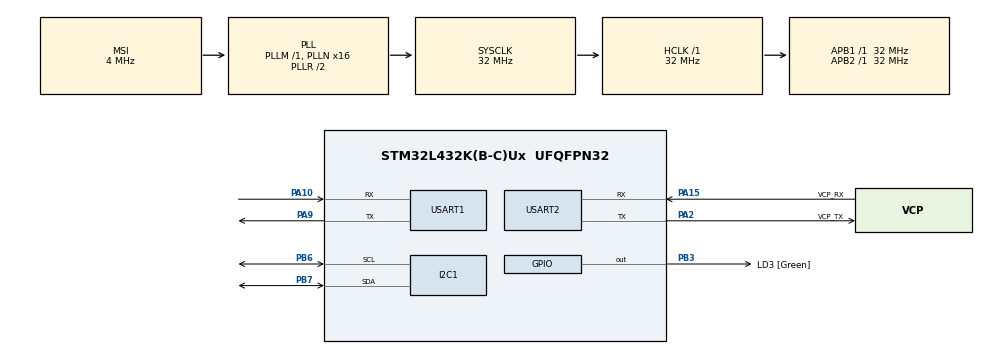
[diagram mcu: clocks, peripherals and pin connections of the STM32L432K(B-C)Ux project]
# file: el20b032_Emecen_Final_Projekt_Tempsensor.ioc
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FREERTOS.Queues01=tempfreeQueue,16,int,0,Dynamic,NULL,NULL
FREERTOS.Tasks01=TempTask,24,128,StartTempTask,Default,NULL,Dynamic,NULL,NULL;Transmit,8,128,TransmitTask,Default,NULL,Dynamic,NULL,NULL
FREERTOS.configUSE_NEWLIB_REENTRANT=1
I2C1.Timing=0x00707CBB
Mcu.Family=STM32L4
Mcu.Name=STM32L432K(B-C)Ux
Mcu.Package=UFQFPN32
NVIC.PriorityGroup=NVIC_PRIORITYGROUP_4
NVIC.TIM6_DAC_IRQn=true\:15\:0\:false\:false\:true\:false\:false\:true\:true
NVIC.TimeBase=TIM6_DAC_IRQn
NVIC.TimeBaseIP=TIM6
PA0.GPIO_Label=MCO [High speed clock in]
PA0.Mode=HSE-External-Clock-Source-for-LittleOrca
PA0.Signal=RCC_CK_IN
PA10.Mode=Asynchronous
PA10.Signal=USART1_RX
PA13\ (JTMS-SWDIO).GPIO_Label=SWDIO
PA13\ (JTMS-SWDIO).Mode=Serial_Wire
PA13\ (JTMS-SWDIO).Signal=SYS_JTMS-SWDIO
PA14\ (JTCK-SWCLK).GPIO_Label=SWCLK
PA14\ (JTCK-SWCLK).Mode=Serial_Wire
PA14\ (JTCK-SWCLK).Signal=SYS_JTCK-SWCLK
PA15\ (JTDI).GPIO_Label=VCP_RX
PA15\ (JTDI).Mode=Asynchronous
PA15\ (JTDI).Signal=USART2_RX
PA2.GPIO_Label=VCP_TX
PA2.Mode=Asynchronous
PA2.Signal=USART2_TX
PA9.Mode=Asynchronous
PA9.Signal=USART1_TX
PB3\ (JTDO-TRACESWO).GPIO_Label=LD3 [Green]
PB3\ (JTDO-TRACESWO).Signal=GPIO_Output
PB6.Mode=I2C
PB6.Signal=I2C1_SCL
PB7.Mode=I2C
PB7.Signal=I2C1_SDA
PC14-OSC32_IN\ (PC14).Mode=LSE-External-Oscillator
PC14-OSC32_IN\ (PC14).Signal=RCC_OSC32_IN
PC15-OSC32_OUT\ (PC15).Mode=LSE-External-Oscillator
PC15-OSC32_OUT\ (PC15).Signal=RCC_OSC32_OUT
ProjectManager.HeapSize=0x200
ProjectManager.StackSize=0x400
ProjectManager.TargetToolchain=STM32CubeIDE
RCC.AHBFreq_Value=32000000
RCC.APB1Freq_Value=32000000
RCC.APB1TimFreq_Value=32000000
RCC.APB2Freq_Value=32000000
RCC.APB2TimFreq_Value=32000000
RCC.CortexFreq_Value=32000000
RCC.HCLKFreq_Value=32000000
RCC.HSE_VALUE=8000000
RCC.HSI16_VALUE=16000000
RCC.HSI48_VALUE=48000000
RCC.HSI_VALUE=16000000
RCC.MSI_VALUE=4000000
RCC.PLLMUL=RCC_PLLMUL_4
RCC.PLLN=16
RCC.SYSCLKFreq_VALUE=32000000
RCC.SYSCLKSource=RCC_SYSCLKSOURCE_PLLCLK
RCC.VCOOutputFreq_Value=64000000
USART1.VirtualMode-Asynchronous=VM_ASYNC
USART2.VirtualMode-Asynchronous=VM_ASYNC
VP_FREERTOS_VS_CMSIS_V2.Mode=CMSIS_V2
VP_SYS_VS_tim6.Mode=TIM6
board=NUCLEO-L432KC

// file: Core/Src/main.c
/* USER CODE BEGIN Header */
/**
  ******************************************************************************
  * @file           : main.c
  * @brief          : Main program body
  ******************************************************************************
  * @attention
  *
  * Copyright (c) 2024 STMicroelectronics.
  * All rights reserved.
  *
  * This software is licensed under terms that can be found in the LICENSE file
  * in the root directory of this software component.
  * If no LICENSE file comes with this software, it is provided AS-IS.
  *
  ******************************************************************************
  */
/* USER CODE END Header */
#include "main.h"
#include "cmsis_os.h"

/* USER CODE BEGIN Includes */
#define TSYS03_I2C_ADDRESS 0x40
#include "stdio.h"
#include "conversions.h"
#include "uart_send_app.h"
/* USER CODE END Includes */

I2C_HandleTypeDef hi2c1;

UART_HandleTypeDef huart1;
UART_HandleTypeDef huart2;

/* Definitions for TempTask */
osThreadId_t TempTaskHandle;
const osThreadAttr_t TempTask_attributes = {
  .name = "TempTask",
  .stack_size = 128 * 4,
  .priority = (osPriority_t) osPriorityNormal,
};
/* Definitions for Transmit */
osThreadId_t TransmitHandle;
const osThreadAttr_t Transmit_attributes = {
  .name = "Transmit",
  .stack_size = 128 * 4,
  .priority = (osPriority_t) osPriorityLow,
};
/* Definitions for tempfreeQueue */
osMessageQueueId_t tempfreeQueueHandle;
const osMessageQueueAttr_t tempfreeQueue_attributes = {
  .name = "tempfreeQueue"
};

void SystemClock_Config(void);
static void MX_GPIO_Init(void);
static void MX_USART2_UART_Init(void);
static void MX_I2C1_Init(void);
static void MX_USART1_UART_Init(void);
void StartTempTask(void *argument);
void TransmitTask(void *argument);

int main(void)
{

  /* MCU Configuration--------------------------------------------------------*/

  /* Reset of all peripherals, Initializes the Flash interface and the Systick. */
  HAL_Init();

  /* Configure the system clock */
  SystemClock_Config();

  /* Initialize all configured peripherals */
  MX_GPIO_Init();
  MX_USART2_UART_Init();
  MX_I2C1_Init();
  MX_USART1_UART_Init();

  /* Init scheduler */
  osKernelInitialize();

  /* Create the queue(s) */
  /* creation of tempfreeQueue */
  tempfreeQueueHandle = osMessageQueueNew (16, sizeof(int), &tempfreeQueue_attributes);

  /* Create the thread(s) */
  /* creation of TempTask */
  TempTaskHandle = osThreadNew(StartTempTask, NULL, &TempTask_attributes);

  /* creation of Transmit */
  TransmitHandle = osThreadNew(TransmitTask, NULL, &Transmit_attributes);

  /* Start scheduler */
  osKernelStart();

  /* We should never get here as control is now taken by the scheduler */
  /* Infinite loop */
  while (1)
  {

  }
}

void SystemClock_Config(void)
{
  RCC_OscInitTypeDef RCC_OscInitStruct = {0};
  RCC_ClkInitTypeDef RCC_ClkInitStruct = {0};

  /** Configure the main internal regulator output voltage
  */
  if (HAL_PWREx_ControlVoltageScaling(PWR_REGULATOR_VOLTAGE_SCALE1) != HAL_OK)
  {
    Error_Handler();
  }

  /** Configure LSE Drive Capability
  */
  HAL_PWR_EnableBkUpAccess();
  __HAL_RCC_LSEDRIVE_CONFIG(RCC_LSEDRIVE_LOW);

  /** Initializes the RCC Oscillators according to the specified parameters
  * in the RCC_OscInitTypeDef structure.
  */
  RCC_OscInitStruct.OscillatorType = RCC_OSCILLATORTYPE_LSE|RCC_OSCILLATORTYPE_MSI;
  RCC_OscInitStruct.LSEState = RCC_LSE_ON;
  RCC_OscInitStruct.MSIState = RCC_MSI_ON;
  RCC_OscInitStruct.MSICalibrationValue = 0;
  RCC_OscInitStruct.MSIClockRange = RCC_MSIRANGE_6;
  RCC_OscInitStruct.PLL.PLLState = RCC_PLL_ON;
  RCC_OscInitStruct.PLL.PLLSource = RCC_PLLSOURCE_MSI;
  RCC_OscInitStruct.PLL.PLLM = 1;
  RCC_OscInitStruct.PLL.PLLN = 16;
  RCC_OscInitStruct.PLL.PLLP = RCC_PLLP_DIV7;
  RCC_OscInitStruct.PLL.PLLQ = RCC_PLLQ_DIV2;
  RCC_OscInitStruct.PLL.PLLR = RCC_PLLR_DIV2;
  if (HAL_RCC_OscConfig(&RCC_OscInitStruct) != HAL_OK)
  {
    Error_Handler();
  }

  /** Initializes the CPU, AHB and APB buses clocks
  */
  RCC_ClkInitStruct.ClockType = RCC_CLOCKTYPE_HCLK|RCC_CLOCKTYPE_SYSCLK
                              |RCC_CLOCKTYPE_PCLK1|RCC_CLOCKTYPE_PCLK2;
  RCC_ClkInitStruct.SYSCLKSource = RCC_SYSCLKSOURCE_PLLCLK;
  RCC_ClkInitStruct.AHBCLKDivider = RCC_SYSCLK_DIV1;
  RCC_ClkInitStruct.APB1CLKDivider = RCC_HCLK_DIV1;
  RCC_ClkInitStruct.APB2CLKDivider = RCC_HCLK_DIV1;

  if (HAL_RCC_ClockConfig(&RCC_ClkInitStruct, FLASH_LATENCY_1) != HAL_OK)
  {
    Error_Handler();
  }

  /** Enable MSI Auto calibration
  */
  HAL_RCCEx_EnableMSIPLLMode();
}

static void MX_I2C1_Init(void)
{

  hi2c1.Instance = I2C1;
  hi2c1.Init.Timing = 0x00707CBB;
  hi2c1.Init.OwnAddress1 = 0;
  hi2c1.Init.AddressingMode = I2C_ADDRESSINGMODE_7BIT;
  hi2c1.Init.DualAddressMode = I2C_DUALADDRESS_DISABLE;
  hi2c1.Init.OwnAddress2 = 0;
  hi2c1.Init.OwnAddress2Masks = I2C_OA2_NOMASK;
  hi2c1.Init.GeneralCallMode = I2C_GENERALCALL_DISABLE;
  hi2c1.Init.NoStretchMode = I2C_NOSTRETCH_DISABLE;
  if (HAL_I2C_Init(&hi2c1) != HAL_OK)
  {
    Error_Handler();
  }

  /** Configure Analogue filter
  */
  if (HAL_I2CEx_ConfigAnalogFilter(&hi2c1, I2C_ANALOGFILTER_ENABLE) != HAL_OK)
  {
    Error_Handler();
  }

  /** Configure Digital filter
  */
  if (HAL_I2CEx_ConfigDigitalFilter(&hi2c1, 0) != HAL_OK)
  {
    Error_Handler();
  }

}

static void MX_USART1_UART_Init(void)
{

  huart1.Instance = USART1;
  huart1.Init.BaudRate = 115200;
  huart1.Init.WordLength = UART_WORDLENGTH_8B;
  huart1.Init.StopBits = UART_STOPBITS_1;
  huart1.Init.Parity = UART_PARITY_NONE;
  huart1.Init.Mode = UART_MODE_TX_RX;
  huart1.Init.HwFlowCtl = UART_HWCONTROL_NONE;
  huart1.Init.OverSampling = UART_OVERSAMPLING_16;
  huart1.Init.OneBitSampling = UART_ONE_BIT_SAMPLE_DISABLE;
  huart1.AdvancedInit.AdvFeatureInit = UART_ADVFEATURE_NO_INIT;
  if (HAL_UART_Init(&huart1) != HAL_OK)
  {
    Error_Handler();
  }

}

static void MX_USART2_UART_Init(void)
{

  huart2.Instance = USART2;
  huart2.Init.BaudRate = 115200;
  huart2.Init.WordLength = UART_WORDLENGTH_8B;
  huart2.Init.StopBits = UART_STOPBITS_1;
  huart2.Init.Parity = UART_PARITY_NONE;
  huart2.Init.Mode = UART_MODE_TX_RX;
  huart2.Init.HwFlowCtl = UART_HWCONTROL_NONE;
  huart2.Init.OverSampling = UART_OVERSAMPLING_16;
  huart2.Init.OneBitSampling = UART_ONE_BIT_SAMPLE_DISABLE;
  huart2.AdvancedInit.AdvFeatureInit = UART_ADVFEATURE_NO_INIT;
  if (HAL_UART_Init(&huart2) != HAL_OK)
  {
    Error_Handler();
  }

}

static void MX_GPIO_Init(void)
{
  GPIO_InitTypeDef GPIO_InitStruct = {0};

  /* GPIO Ports Clock Enable */
  __HAL_RCC_GPIOC_CLK_ENABLE();
  __HAL_RCC_GPIOA_CLK_ENABLE();
  __HAL_RCC_GPIOB_CLK_ENABLE();

  /*Configure GPIO pin Output Level */
  HAL_GPIO_WritePin(LD3_GPIO_Port, LD3_Pin, GPIO_PIN_RESET);

  /*Configure GPIO pin : LD3_Pin */
  GPIO_InitStruct.Pin = LD3_Pin;
  GPIO_InitStruct.Mode = GPIO_MODE_OUTPUT_PP;
  GPIO_InitStruct.Pull = GPIO_NOPULL;
  GPIO_InitStruct.Speed = GPIO_SPEED_FREQ_LOW;
  HAL_GPIO_Init(LD3_GPIO_Port, &GPIO_InitStruct);

}

void StartTempTask(void *argument)
{
  /* USER CODE BEGIN 5 */
  /* Infinite loop */
  for(;;)
  {
	 uint8_t reset_cmd = 0x1E;
	 uint8_t start_conv_cmd = 0x46;
	 uint8_t adc_read_cmd = 0x00;
	 uint8_t adc_data[3];

	    HAL_I2C_Master_Transmit(&hi2c1, (uint16_t)(TSYS03_I2C_ADDRESS << 1), &reset_cmd, 1, HAL_MAX_DELAY);
	    HAL_Delay(20);

	    HAL_I2C_Master_Transmit(&hi2c1, (uint16_t)(TSYS03_I2C_ADDRESS << 1), &start_conv_cmd, 1, HAL_MAX_DELAY);
	    HAL_Delay(20);

	    HAL_I2C_Master_Transmit(&hi2c1, (uint16_t)(TSYS03_I2C_ADDRESS << 1), &adc_read_cmd, 1, HAL_MAX_DELAY);
	    HAL_Delay(20);

	    HAL_I2C_Master_Receive(&hi2c1, (uint16_t)(TSYS03_I2C_ADDRESS << 1), adc_data, 3, HAL_MAX_DELAY);

	    	    uint16_t adc_value = (adc_data[0] << 8) | adc_data[1];
	    	    int temperature = -40.0 + (165.0 * adc_value / 65535.0);

	     osMessageQueuePut(tempfreeQueueHandle, &temperature, 0, osWaitForever);

	 osDelay(100);
  }
  /* USER CODE END 5 */
}

void TransmitTask(void *argument)
{
  /* USER CODE BEGIN TransmitTask */
  /* Infinite loop */
	int temperature;

  for(;;)
  {
	  osMessageQueueGet(tempfreeQueueHandle, &temperature, NULL, osWaitForever);

	  char str[20];
	  sprintf(str, "Temp: %d", temperature);

	  transmit_string(&huart1, str);

	  uint8_t msg[] = "\n";
	  HAL_UART_Transmit(&huart1, msg, sizeof(msg) - 1, HAL_MAX_DELAY); //change to huart2 for terminal output

	  osDelay(1);
  }
  /* USER CODE END TransmitTask */
}

void HAL_TIM_PeriodElapsedCallback(TIM_HandleTypeDef *htim)
{
  if (htim->Instance == TIM6) {
    HAL_IncTick();
  }
}

void Error_Handler(void)
{
  __disable_irq();
  while (1)
  {
  }
}
